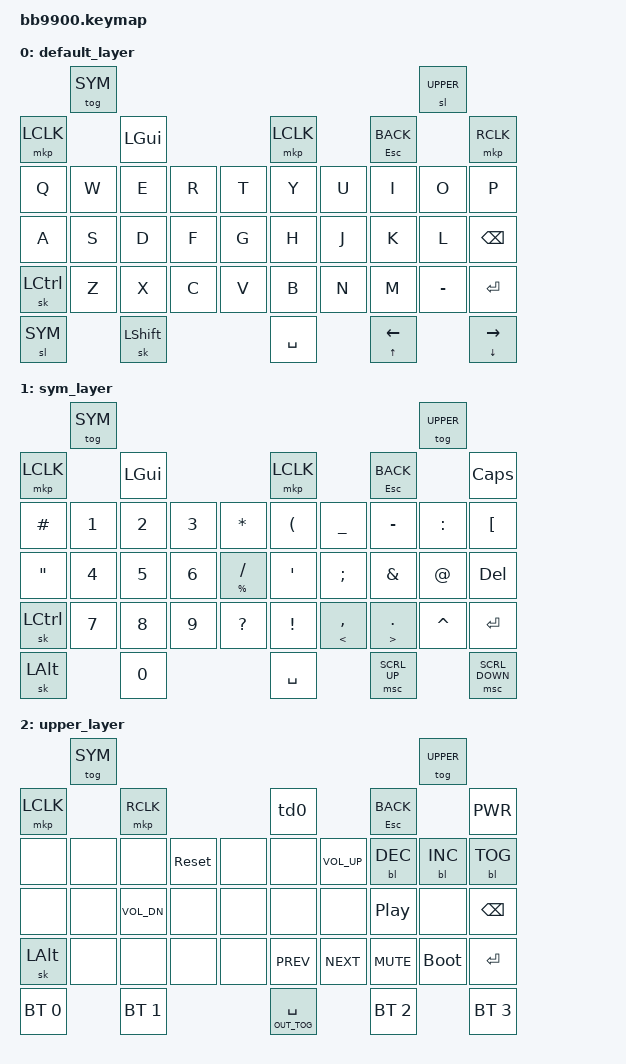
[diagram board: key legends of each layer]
/*
 * Copyright (c) 2023 ZitaoTech
 *
 * SPDX-License-Identifier: MIT
 */
   
#include <behaviors.dtsi>
#include <dt-bindings/zmk/keys.h>
#include <dt-bindings/zmk/bt.h>
#include <dt-bindings/zmk/outputs.h>
#include <dt-bindings/zmk/mouse.h>
#include <dt-bindings/zmk/backlight.h>
#include <dt-bindings/zmk/ext_power.h>


#define SYM 1
#define UPPER 2

/ {
    behaviors {
        td0: tap_dance_0 {
            compatible = "zmk,behavior-tap-dance";
            #binding-cells = <0>;
            tapping-term-ms = <400>;
            bindings = <&mkp LCLK>, <&bt BT_CLR>;
        };
    };
    behaviors {
        hm: homerow_mods {
            compatible = "zmk,behavior-hold-tap";
            #binding-cells = <2>;
            tapping-term-ms = <500>;
            bindings = <&out &kp>;
        };
    };

    keymap {
        compatible = "zmk,keymap";

        default_layer {

            bindings = <
//         --------------------------------------------------------------------------------------------------------------------------         
//         |    Shoulder Key1    |                                                                             |    Shoulder Key2    |     
// |         Call key      |      Blackberry Key        |    Trackpad    |             Back Key                |             Endcall Key          |
// |     Q      |     W    |     E    |     R    |      T      |       Y        |       U        |        I        |       O      |      P        |     
// |     A      |     S    |     D    |     F    |      G      |       H        |       J        |        K        |       L      |      ←        |  
// |     alt    |     Z    |     X    |     C    |      V      |       B        |       N        |        M        |       $      |    Enter      |   
//        |         aA     |         0           |           SPACE              |         SYM         |        aA          |       
//        -----------------------------------------------------------------------------------------------------------------

                 &tog SYM                                                                                           &sl UPPER
    &mkp LCLK               &kp LGUI                            &mkp LCLK                          &mt ESC K_BACK                    &mkp RCLK
    &kp Q        &kp W      &kp E       &kp R     &kp T         &kp Y             &kp U            &kp I            &kp O            &kp P
    &kp A        &kp S      &kp D       &kp F     &kp G         &kp H             &kp J            &kp K            &kp L            &kp BSPC
    &sk LCTRL    &kp Z      &kp X       &kp C     &kp V         &kp B             &kp N            &kp M            &kp MINUS        &kp ENTER
    &sl SYM                 &sk LSHFT                           &kp SPACE                          &mt UP LEFT                       &mt DOWN RIGHT
            >;
        };


        sym_layer {

            bindings = <        
                 &tog SYM                                                                                           &tog UPPER
    &mkp LCLK               &kp LGUI                            &mkp LCLK                          &mt ESC K_BACK                    &kp CLCK
    &kp HASH     &kp N1     &kp N2      &kp N3    &kp STAR      &kp LPAR          &kp UNDER        &kp MINUS        &kp COLON        &kp LBKT
    &kp DQT      &kp N4     &kp N5      &kp N6    &mt PRCNT FSLH &kp APOS         &kp SEMI         &kp AMPS         &kp AT           &kp DEL
    &sk LCTRL    &kp N7     &kp N8      &kp N9    &kp QMARK     &kp EXCL          &mt LT COMMA     &mt GT DOT       &kp CARET        &kp ENTER
    &sk LALT                &kp N0                              &kp SPACE                          &msc SCRL_UP                      &msc SCRL_DOWN
            >;
        };

        upper_layer {

            bindings = <
                 &tog SYM                                                                                          &tog UPPER
    &mkp LCLK               &mkp RCLK                           &td0                               &mt ESC K_BACK                    &kp K_PWR
    &none        &none      &none       &sys_reset &none        &none               &kp C_VOL_UP   &bl BL_DEC       &bl BL_INC       &bl BL_TOG
    &none        &none      &kp C_VOL_DN &none     &none        &none               &none          &kp C_PP         &none            &kp BSPC
    &sk LALT     &none      &none       &none      &none        &kp C_PREV          &kp C_NEXT     &kp C_MUTE       &bootloader      &kp ENTER
    &bt BT_SEL 0            &bt BT_SEL 1                        &hm OUT_TOG SPACE                  &bt BT_SEL 2                      &bt BT_SEL 3
            >;
        };
    };
};

